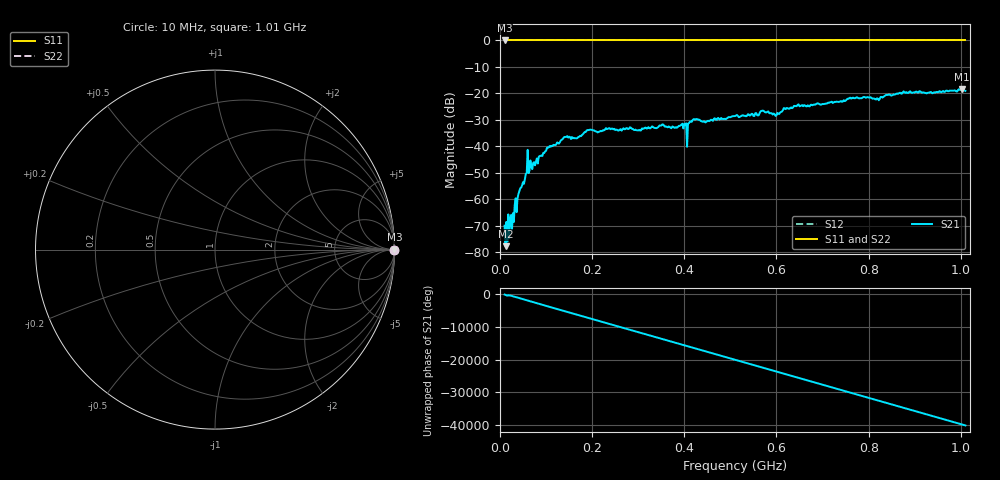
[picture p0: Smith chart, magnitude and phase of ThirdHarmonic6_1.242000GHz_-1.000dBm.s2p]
! 8/16/2025 1:12:35 PM
! C:\ANRITSUVNA\TEMP\TEMP.S2P
! CHANNEL.1
! TR.MEASUREMENT
! RAW.DATA
! RF.CORRECTION.OFF
! AVERAGING.OFF
! IF.BANDWIDTH: 5KHZ
! SWEEPTYPE:  FREQ.SWEEP(Linear)
! Reference Plane Port Info
! PORT:  PORT1  PORT2
! DISTANCE:  0  m  0  m
! TIME:  0  s  0  s
! PHASE.OFFSET:  0  deg.  0  deg.
! LOSS:  0  dB  0  dB
! REF.LOSS:  0  dB  0  dB
! REF.FREQ:  0  Hz  0  Hz
! Power Info
! POWER:  -20  dBm  -20  dBm
! EFF.POWER:  -20  dBm  -20  dBm
! SOURCE.ATTEN:  0  dB  0  dB
! TEST.ATTEN:  0  dB  0  dB
# GHZ S RI R 50.0
! FREQ.GHZ  S11RE  S11IM  S21RE  S21IM  S12RE  S12IM  S22RE  S22IM
!; PortSelection: Port_12
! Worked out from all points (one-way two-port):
!   501 points, 10 MHz to 1.01 GHz, reference 50 ohm
!   highest |S21| = -18.38 dB at 1.002 GHz (marker M1); lowest = -77.7 dB at 12 MHz (marker M2)
!   lowest |S11| = 0.0 dB at 10 MHz (marker M3)
!   |S11| at or under -10 dB: nowhere
!   |S22| runs from 0.0 to 0.0 dB; largest |S21 - S12| = 1.1
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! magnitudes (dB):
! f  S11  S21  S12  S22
! 10 MHz  0.0  -70.0  0.0  0.0
! 12 MHz  0.0  -77.7  0.0  0.0
! 24 MHz  0.0  -66.0  0.0  0.0
! 42 MHz  0.0  -56.9  0.0  0.0
! 64 MHz  0.0  -49.2  0.0  0.0
! 66 MHz  0.0  -45.3  0.0  0.0
! 104 MHz  0.0  -40.5  0.0  0.0
! 142 MHz  0.0  -36.5  0.0  0.0
! 178 MHz  0.0  -35.7  0.0  0.0
! 194 MHz  0.0  -33.8  0.0  0.0
! 344 MHz  0.0  -32.6  0.0  0.0
! 400 MHz  0.0  -31.6  0.0  0.0
! 402 MHz  0.0  -31.8  0.0  0.0
! 422 MHz  0.0  -29.8  0.0  0.0
! 510 MHz  0.0  -28.6  0.0  0.0
! 570 MHz  0.0  -26.5  0.0  0.0
! 602 MHz  0.0  -27.4  0.0  0.0
! 620 MHz  0.0  -25.9  0.0  0.0
! 678 MHz  0.0  -24.5  0.0  0.0
! 844 MHz  0.0  -20.4  0.0  0.0
! 1.002 GHz  0.0  -18.4  0.0  0.0
! 1.01 GHz  0.0  -19.1  0.0  0.0
